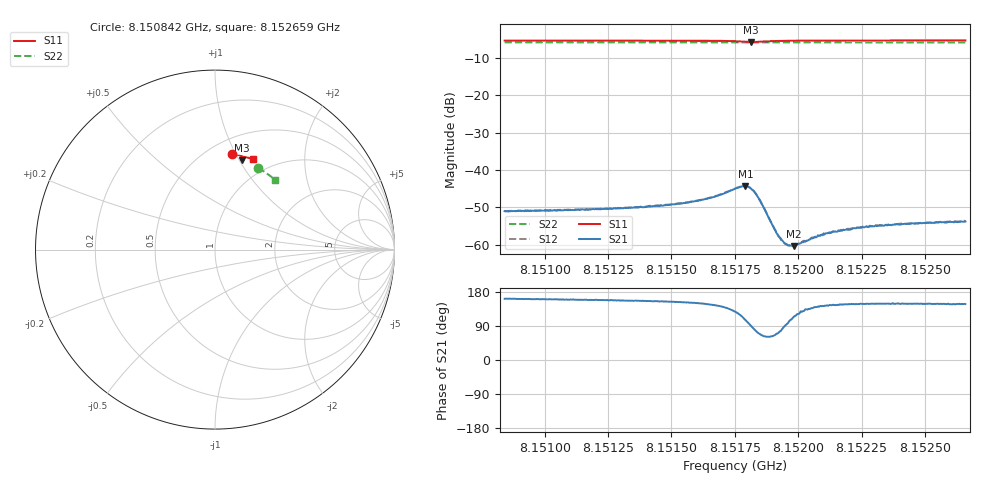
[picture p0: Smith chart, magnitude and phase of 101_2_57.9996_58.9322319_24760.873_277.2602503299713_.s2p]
#  HZ  S  RI  R  50.00
! Rohde & Schwarz Vector Network Analyzer
! Rohde-Schwarz,ZNB20-2Port,1311601062101988,3.16
! Created: UTC 3/21/2024, 12:54:48 AM
! freq[Hz]  re:S11  im:S11  re:S21  im:S21  re:S12  im:S12  re:S22  im:S22
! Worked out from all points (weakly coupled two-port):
!   401 points, 8.150842 GHz to 8.152659 GHz, reference 50 ohm
!   highest |S21| = -44.34 dB at 8.151791 GHz (marker M1); lowest = -60.4 dB at 8.151982 GHz (marker M2)
!   lowest |S11| = -5.7 dB at 8.151814 GHz (marker M3), VSWR 3.16, Z = 37.7 + j51.3 ohm
!   |S11| at or under -10 dB: nowhere
!   |S22| runs from -5.8 to -5.8 dB; largest |S21 - S12| = 0.00013
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8.1508417e9  0.0921 0.5346  -0.00266 0.000891  -0.00265 0.000945  0.2408 0.4546
8.1511461e9  0.1138 0.5308  -0.00277 0.00106  -0.00276 0.00112  0.2578 0.4448
8.1514506e9  0.1363 0.5255  -0.00299 0.00143  -0.00295 0.00147  0.2746 0.4344
8.1515415e9  0.1435 0.5234  -0.00315 0.00163  -0.00319 0.00173  0.2795 0.431
8.1516278e9  0.1511 0.52  -0.00343 0.0021  -0.00342 0.00219  0.284 0.4278
8.1516733e9  0.1555 0.5173  -0.00359 0.00258  -0.00359 0.00266  0.2864 0.426
8.1517505e9  0.1616 0.507  -0.00343 0.00443  -0.00341 0.00449  0.2904 0.4228
8.1517914e9  0.1574 0.498  -0.00169 0.00582  -0.00165 0.00587  0.292 0.4213
8.1518141e9  0.1505 0.4968  3.59e-05 0.00562  8.76e-05 0.00567  0.293 0.4203
8.1518323e9  0.1459 0.5001  0.00108 0.00467  0.00118 0.0047  0.2938 0.4197
8.1518459e9  0.1442 0.5037  0.00142 0.00378  0.00147 0.00382  0.2944 0.4195
8.151905e9  0.1494 0.5143  0.000697 0.00149  0.000721 0.0015  0.2978 0.4176
8.1519277e9  0.1526 0.5157  0.000312 0.00119  0.000286 0.0012  0.2989 0.4169
8.1519505e9  0.1554 0.5165  -4.08e-05 0.00102  -5.81e-06 0.00101  0.3002 0.4161
8.1519686e9  0.1576 0.5168  -0.000259 0.000935  -0.000236 0.000921  0.3011 0.4154
8.1519823e9  0.1592 0.5169  -0.000395 0.000872  -0.000368 0.000889  0.3019 0.4148
8.152055e9  0.1664 0.5163  -0.000879 0.000822  -0.000928 0.000834  0.3058 0.412
8.1521095e9  0.1711 0.5155  -0.00114 0.000846  -0.00114 0.000851  0.3085 0.4098
8.1521868e9  0.1773 0.5139  -0.00133 0.000864  -0.00134 0.000898  0.3123 0.4065
8.1522776e9  0.184 0.512  -0.00147 0.000921  -0.00145 0.000915  0.317 0.4028
8.1523594e9  0.1899 0.5102  -0.00156 0.000951  -0.00155 0.00096  0.321 0.3996
8.1526594e9  0.2103 0.5028  -0.00172 0.00109  -0.00171 0.00117  0.3354 0.387
